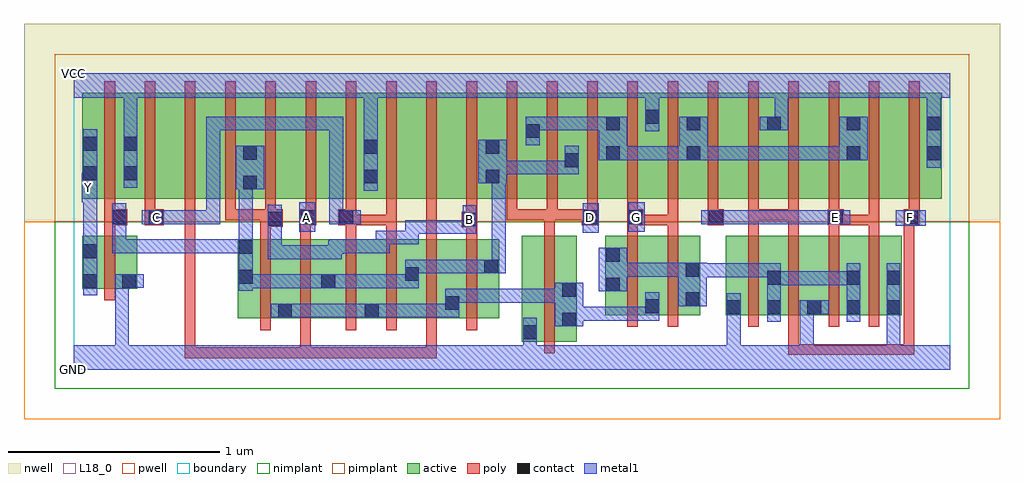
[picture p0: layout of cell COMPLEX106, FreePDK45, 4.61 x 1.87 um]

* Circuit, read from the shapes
.subckt COMPLEX106 A B C D E F G GND VCC Y
M1 GND n1 Y VSUBS nfet w=0.25u l=0.05u
M2 n2 B n1 VSUBS nfet w=0.375u l=0.05u m=2
M3 n1 A n2 VSUBS nfet w=0.375u l=0.05u m=2
M4 n2 C n1 VSUBS nfet w=0.375u l=0.05u m=2
M5 n2 D GND VSUBS nfet w=0.5u l=0.05u
M6 n2 G n3 VSUBS nfet w=0.375u l=0.05u m=2
M7 n3 F GND VSUBS nfet w=0.375u l=0.05u m=2
M8 n3 E GND VSUBS nfet w=0.375u l=0.05u m=2
M9 VCC n1 Y n4 pfet w=0.5u l=0.05u
M10 n5 C VCC n4 pfet w=0.5u l=0.05u
M11 n6 A n5 n4 pfet w=0.5u l=0.05u
M12 n1 B n6 n4 pfet w=0.5u l=0.05u
M13 n7 B n1 n4 pfet w=0.5u l=0.05u
M14 n8 A n7 n4 pfet w=0.5u l=0.05u
M15 VCC C n8 n4 pfet w=0.5u l=0.05u
M16 n9 C VCC n4 pfet w=0.5u l=0.05u
M17 n10 A n9 n4 pfet w=0.5u l=0.05u
M18 n1 B n10 n4 pfet w=0.5u l=0.05u
M19 n11 D n1 n4 pfet w=0.5u l=0.05u m=3
M20 VCC G n11 n4 pfet w=0.5u l=0.05u m=2
M21 n12 E n11 n4 pfet w=0.5u l=0.05u
M22 VCC F n12 n4 pfet w=0.5u l=0.05u
M23 n13 F VCC n4 pfet w=0.5u l=0.05u
M24 n11 E n13 n4 pfet w=0.5u l=0.05u
M25 n14 E n11 n4 pfet w=0.5u l=0.05u
M26 VCC F n14 n4 pfet w=0.5u l=0.05u
.ends

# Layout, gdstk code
import gdstk
lib = gdstk.Library(unit=1e-6, precision=1e-09)
def R(c, l, rs):  # rectangles x0, y0, x1, y1
    for r in rs: c.add(gdstk.rectangle(r[:2], r[2:], *l))
def A(c, l, x, y, w, h, nx, ny, dx, dy):  # array of equal rectangles
    R(c, l, [(x+i*dx, y+j*dy, x+i*dx+w, y+j*dy+h) for i in range(nx) for j in range(ny)])
active = (1, 0)
pwell = (2, 0)
nwell = (3, 0)
nimplant = (4, 0)
pimplant = (5, 0)
poly = (9, 0)
contact = (10, 0)
metal1 = (11, 0)
L18_0 = (18, 0)
boundary = (235, 0)

complex106 = lib.new_cell('COMPLEX106')
A(complex106, active, 0.455, 0.807, 0.19, 0.5, 3, 1, 0.57, 0)
A(complex106, active, 2.13, 0.807, 0.075, 0.393, 3, 1, 0.38, 0)
R(complex106, active, [(2.117,0.132,2.377,0.632), (2.117,0.132,2.192,0.632), (2.302,0.145,2.377,0.632), (0.775,0.242,0.85,0.617), (0.775,0.242,1.035,0.617), (0.96,0.242,1.24,0.617), (0.96,0.242,1.035,0.512), (1.165,0.242,1.445,0.617), (1.37,0.242,1.635,0.617), (1.37,0.242,1.445,0.592), (1.56,0.242,1.825,0.617), (1.75,0.242,2.01,0.617), (1.75,0.242,1.825,0.467), (2.51,0.257,2.77,0.632), (2.695,0.257,2.96,0.632), (2.695,0.257,2.77,0.467), (2.885,0.257,2.96,0.632), (3.08,0.257,3.155,0.632), (3.08,0.257,3.345,0.632), (3.27,0.257,3.345,0.632), (3.27,0.257,3.535,0.632), (3.46,0.257,3.72,0.632), (3.46,0.257,3.535,0.467), (3.645,0.257,3.91,0.632), (3.645,0.257,3.72,0.6), (3.835,0.257,3.91,0.632), (1.165,0.27,1.24,0.512), (1.56,0.27,1.635,0.617), (1.935,0.27,2.01,0.617), (2.51,0.27,2.585,0.632), (0.04,0.382,0.115,0.632), (0.04,0.382,0.3,0.632), (0.225,0.382,0.3,0.632), (0.04,0.807,0.115,1.2), (0.04,0.807,0.305,1.307), (0.23,0.807,0.455,1.307), (0.23,0.807,0.305,1.255), (0.645,0.807,0.87,1.307), (0.795,0.807,1.025,1.307), (0.795,0.807,0.87,1.07), (1.215,0.807,1.44,1.307), (1.365,0.807,1.44,1.307), (1.365,0.807,1.595,1.307), (1.785,0.807,2.015,1.307), (1.94,0.807,2.015,1.2), (1.94,0.807,2.205,1.307), (2.13,0.807,2.39,1.307), (2.315,0.807,2.585,1.307), (2.315,0.807,2.39,1.07), (2.51,0.807,2.77,1.307), (2.695,0.807,2.965,1.307), (2.695,0.807,2.77,1.255), (2.89,0.807,3.115,1.307), (3.115,0.807,3.345,1.307), (3.27,0.807,3.345,1.307), (3.27,0.807,3.495,1.307), (3.495,0.807,3.72,1.307), (3.645,0.807,3.875,1.307), (3.645,0.807,3.72,1.2), (3.875,0.807,4.1,1.307), (4.025,0.807,4.1,1.307)])
R(complex106, pwell, [(-0.235,-0.235,4.375,0.7)])
R(complex106, nwell, [(-0.235,0.7,4.375,1.635)])
R(complex106, nimplant, [(-0.09,-0.09,4.23,0.7)])
R(complex106, pimplant, [(-0.09,0.7,4.23,1.49)])
A(complex106, poly, 1.285, 0.187, 0.05, 0.485, 4, 1, 0.19, 0)
A(complex106, poly, 3.185, 0.202, 0.05, 0.485, 4, 1, 0.19, 0)
A(complex106, poly, 0.715, 0.707, 0.05, 0.095, 4, 1, 0.19, 0)
A(complex106, poly, 2.045, 0.707, 0.05, 0.095, 4, 1, 0.19, 0)
A(complex106, poly, 2.995, 0.707, 0.05, 0.095, 4, 1, 0.19, 0)
A(complex106, poly, 0.145, 0.752, 0.05, 0.61, 21, 1, 0.19, 0)
R(complex106, poly, [(0.525,0.055,0.575,0.105), (0.525,0.055,0.575,0.105), (0.525,0.055,0.575,0.105), (0.525,0.055,0.575,0.105), (0.525,0.055,0.575,0.105), (0.525,0.055,0.575,0.105), (0.525,0.055,0.575,0.105), (0.525,0.055,0.575,0.105), (0.525,0.055,0.575,0.105), (0.525,0.055,0.575,0.105), (0.525,0.055,0.575,0.105), (0.525,0.055,0.707,0.105), (0.525,0.055,0.575,0.802), (0.657,0.055,0.707,0.105), (0.657,0.055,0.707,0.105), (0.657,0.055,0.707,0.105), (0.657,0.055,0.987,0.105), (0.937,0.055,0.987,0.105), (0.937,0.055,0.987,0.105), (0.937,0.055,0.987,0.105), (0.937,0.055,1.12,0.105), (1.07,0.055,1.12,0.105), (1.07,0.055,1.12,0.105), (1.07,0.055,1.12,0.105), (1.07,0.055,1.12,0.237), (1.07,0.055,1.277,0.105), (1.227,0.055,1.277,0.105), (1.227,0.055,1.277,0.105), (1.227,0.055,1.277,0.105), (1.227,0.055,1.467,0.105), (1.417,0.055,1.467,0.105), (1.417,0.055,1.467,0.105), (1.417,0.055,1.467,0.105), (1.417,0.055,1.715,0.105), (1.665,0.055,1.715,0.105), (1.665,0.055,1.715,0.237), (3.375,0.07,3.425,0.12), (3.375,0.07,3.425,0.12), (3.375,0.07,3.425,0.12), (3.375,0.07,3.557,0.12), (3.375,0.07,3.425,0.252), (3.507,0.07,3.557,0.12), (3.507,0.07,3.557,0.12), (3.507,0.07,3.557,0.12), (3.507,0.07,3.837,0.12), (3.787,0.07,3.837,0.12), (3.787,0.07,3.97,0.12), (3.92,0.07,3.97,0.732), (3.92,0.07,3.97,0.12), (3.92,0.07,3.97,0.12), (3.92,0.07,3.97,0.12), (3.92,0.07,3.97,0.12), (3.92,0.07,3.97,0.12), (3.92,0.07,3.97,0.12), (3.92,0.07,3.97,0.12), (3.92,0.07,3.97,0.12), (3.92,0.07,3.97,0.12), (2.222,0.077,2.272,0.687), (0.88,0.187,0.93,0.672), (1.07,0.187,1.12,0.672), (2.615,0.202,2.665,0.687), (2.805,0.202,2.855,0.687), (0.145,0.327,0.195,0.687), (0.88,0.622,0.93,0.725), (1.07,0.622,1.12,0.732), (1.285,0.622,1.335,0.732), (1.475,0.622,1.525,0.732), (1.665,0.622,1.715,0.757), (1.855,0.622,1.905,0.722), (0.145,0.637,0.195,0.732), (2.222,0.637,2.272,0.757), (2.615,0.637,2.665,0.732), (2.805,0.637,2.855,0.732), (3.185,0.637,3.235,0.757), (3.375,0.637,3.425,0.757), (3.565,0.637,3.615,0.732), (3.755,0.637,3.805,0.732), (1.832,0.672,1.907,0.747), (0.88,0.675,0.987,0.757), (0.145,0.682,0.252,0.757), (0.335,0.682,0.425,0.757), (1.07,0.682,1.145,0.757), (1.25,0.682,1.335,0.757), (1.285,0.682,1.335,0.732), (1.285,0.682,1.335,0.732), (1.285,0.682,1.525,0.732), (1.475,0.682,1.525,0.732), (1.475,0.682,1.525,0.802), (2.4,0.682,2.475,0.757), (2.615,0.682,2.69,0.757), (2.64,0.682,2.855,0.732), (2.805,0.682,2.855,0.732), (2.805,0.682,2.855,0.732), (2.805,0.682,2.855,0.732), (2.805,0.682,2.855,0.802), (2.995,0.682,3.07,0.757), (3.562,0.682,3.637,0.757), (3.587,0.682,3.637,0.732), (3.587,0.682,3.637,0.732), (3.587,0.682,3.805,0.732), (3.755,0.682,3.805,0.732), (3.755,0.682,3.805,0.802), (3.92,0.682,3.995,0.757), (1.855,0.697,1.905,0.802), (0.145,0.707,0.195,0.802), (0.335,0.707,0.385,0.802), (0.715,0.707,0.765,0.757), (0.715,0.707,0.765,0.757), (0.715,0.707,0.765,0.757), (0.715,0.707,0.93,0.757), (1.665,0.707,1.715,0.802), (1.665,0.707,1.715,0.757), (2.045,0.707,2.095,0.757), (2.045,0.707,2.095,0.757), (2.045,0.707,2.095,0.757), (2.045,0.707,2.272,0.757), (2.222,0.707,2.285,0.757), (2.235,0.707,2.45,0.757), (2.4,0.707,2.45,0.757), (2.4,0.707,2.45,0.757), (3.185,0.707,3.235,0.757), (3.185,0.707,3.235,0.757), (3.185,0.707,3.235,0.757), (3.185,0.707,3.425,0.757), (3.375,0.707,3.425,0.757), (3.945,0.707,3.995,0.802)])
A(complex106, contact, 3.085, 0.262, 0.065, 0.065, 3, 1, 0.19, 0)
A(complex106, contact, 2.515, 1.13, 0.065, 0.065, 3, 1, 0.38, 0)
R(complex106, contact, [(2.122,0.145,2.187,0.21), (2.307,0.205,2.372,0.27), (0.965,0.247,1.03,0.312), (1.375,0.247,1.44,0.312), (3.65,0.262,3.715,0.327), (3.84,0.262,3.905,0.327), (2.7,0.267,2.765,0.332), (1.755,0.282,1.82,0.347), (2.89,0.3,2.955,0.365), (2.307,0.345,2.372,0.41), (2.515,0.37,2.58,0.435), (1.17,0.385,1.235,0.45), (0.045,0.387,0.11,0.452), (0.23,0.387,0.295,0.452), (3.275,0.402,3.34,0.467), (3.65,0.402,3.715,0.467), (3.84,0.402,3.905,0.467), (0.78,0.407,0.845,0.472), (1.565,0.42,1.63,0.485), (2.89,0.44,2.955,0.505), (1.94,0.455,2.005,0.52), (2.515,0.51,2.58,0.575), (0.045,0.527,0.11,0.592), (0.78,0.547,0.845,0.612), (1.837,0.677,1.902,0.742), (0.917,0.68,0.982,0.745), (0.182,0.687,0.247,0.752), (0.355,0.687,0.42,0.752), (1.075,0.687,1.14,0.752), (1.255,0.687,1.32,0.752), (2.405,0.687,2.47,0.752), (2.62,0.687,2.685,0.752), (3,0.687,3.065,0.752), (3.567,0.687,3.632,0.752), (3.925,0.687,3.99,0.752), (0.8,0.852,0.865,0.917), (1.37,0.88,1.435,0.945), (1.945,0.88,2.01,0.945), (0.045,0.895,0.11,0.96), (0.235,0.895,0.3,0.96), (2.32,0.957,2.385,1.022), (2.515,0.99,2.58,1.055), (2.895,0.99,2.96,1.055), (3.65,0.99,3.715,1.055), (4.03,0.99,4.095,1.055), (0.8,0.992,0.865,1.057), (1.37,1.02,1.435,1.085), (1.945,1.02,2.01,1.085), (0.045,1.035,0.11,1.1), (0.235,1.035,0.3,1.1), (2.135,1.095,2.2,1.16), (3.65,1.13,3.715,1.195), (4.03,1.13,4.095,1.195), (2.7,1.162,2.765,1.227)])
R(complex106, metal1, [(0,0,4.14,0.115), (0.195,0.05,0.26,0.115), (0.195,0.05,0.26,0.115), (0.195,0.05,0.26,0.115), (0.195,0.05,0.26,0.115), (0.195,0.05,0.26,0.115), (0.195,0.05,0.26,0.115), (0.195,0.05,0.26,0.452), (2.122,0.05,2.187,0.175), (3.085,0.05,3.15,0.115), (3.085,0.05,3.15,0.115), (3.085,0.05,3.15,0.292), (3.43,0.05,3.495,0.115), (3.43,0.05,3.495,0.115), (3.43,0.05,3.495,0.115), (3.43,0.05,3.495,0.115), (3.43,0.05,3.495,0.327), (3.84,0.05,3.905,0.115), (3.84,0.05,3.905,0.115), (3.84,0.05,3.905,0.292), (2.122,0.11,2.187,0.175), (2.122,0.11,2.187,0.175), (2.122,0.11,2.187,0.245), (2.272,0.205,2.407,0.41), (3.085,0.227,3.15,0.292), (3.085,0.227,3.15,0.292), (3.085,0.227,3.15,0.362), (3.275,0.227,3.34,0.502), (3.65,0.227,3.715,0.502), (3.84,0.227,3.905,0.502), (3.84,0.227,3.905,0.292), (3.84,0.227,3.905,0.292), (2.342,0.232,2.407,0.297), (2.342,0.232,2.407,0.297), (2.342,0.232,2.545,0.297), (2.48,0.232,2.545,0.297), (2.48,0.232,2.545,0.297), (2.48,0.232,2.545,0.297), (2.48,0.232,2.765,0.297), (2.7,0.232,2.765,0.367), (0.93,0.247,1.065,0.312), (1,0.247,1.13,0.312), (1.065,0.247,1.13,0.312), (1.065,0.247,1.202,0.312), (1.137,0.247,1.202,0.312), (1.137,0.247,1.277,0.312), (1.212,0.247,1.277,0.312), (1.212,0.247,1.405,0.312), (1.34,0.247,1.475,0.312), (1.41,0.247,1.612,0.312), (1.547,0.247,1.612,0.312), (1.547,0.247,1.612,0.312), (1.547,0.247,1.612,0.312), (1.547,0.247,1.75,0.312), (1.685,0.247,1.75,0.312), (1.685,0.247,1.82,0.312), (1.755,0.247,1.82,0.382), (3.43,0.262,3.565,0.327), (2.855,0.3,2.99,0.505), (1.755,0.317,1.907,0.382), (1.842,0.317,1.907,0.382), (1.842,0.317,1.957,0.382), (1.892,0.317,1.957,0.382), (1.892,0.317,2.045,0.382), (1.98,0.317,2.045,0.382), (1.98,0.317,2.2,0.382), (2.135,0.317,2.2,0.382), (2.135,0.317,2.2,0.382), (2.135,0.317,2.2,0.382), (2.135,0.317,2.337,0.382), (0.045,0.352,0.11,0.627), (2.48,0.37,2.615,0.575), (0.78,0.372,0.845,0.647), (0.78,0.372,0.845,0.437), (0.78,0.372,0.845,0.45), (0.78,0.385,0.992,0.45), (0.927,0.385,0.992,0.45), (0.927,0.385,0.992,0.45), (0.927,0.385,0.992,0.45), (0.927,0.385,1.14,0.45), (1.075,0.385,1.14,0.45), (1.075,0.385,1.2,0.45), (1.135,0.385,1.27,0.45), (1.205,0.385,1.355,0.45), (1.29,0.385,1.355,0.45), (1.29,0.385,1.475,0.45), (1.41,0.385,1.475,0.45), (1.41,0.385,1.612,0.45), (1.547,0.385,1.612,0.45), (1.547,0.385,1.63,0.45), (1.565,0.385,1.63,0.52), (0.195,0.387,0.33,0.452), (3.275,0.4,3.46,0.465), (3.395,0.4,3.46,0.465), (3.395,0.4,3.477,0.465), (3.412,0.4,3.477,0.465), (3.412,0.4,3.715,0.465), (3.65,0.4,3.715,0.465), (3.65,0.4,3.715,0.465), (2.925,0.437,2.99,0.502), (2.925,0.437,2.99,0.502), (2.925,0.437,3.132,0.502), (3.067,0.437,3.132,0.502), (3.067,0.437,3.27,0.502), (3.205,0.437,3.27,0.502), (3.205,0.437,3.34,0.502), (2.55,0.44,2.615,0.505), (2.55,0.44,2.615,0.505), (2.55,0.44,2.752,0.505), (2.687,0.44,2.752,0.505), (2.687,0.44,2.752,0.505), (2.687,0.44,2.752,0.505), (2.687,0.44,2.92,0.505), (1.565,0.455,1.765,0.52), (1.7,0.455,1.765,0.52), (1.7,0.455,1.767,0.52), (1.702,0.455,1.767,0.52), (1.702,0.455,1.907,0.52), (1.842,0.455,1.907,0.52), (1.842,0.455,1.97,0.52), (1.905,0.455,2.04,0.52), (1.975,0.455,2.04,0.945), (0.917,0.522,0.982,0.587), (0.917,0.522,1.14,0.587), (0.917,0.522,0.982,0.71), (1.075,0.522,1.14,0.587), (1.075,0.522,1.267,0.587), (1.202,0.522,1.267,0.612), (1.202,0.547,1.277,0.612), (1.212,0.547,1.277,0.615), (0.182,0.55,0.247,0.615), (0.182,0.55,0.385,0.615), (0.182,0.55,0.247,0.717), (0.32,0.55,0.385,0.615), (0.32,0.55,0.385,0.615), (0.32,0.55,0.385,0.615), (0.32,0.55,0.692,0.615), (0.627,0.55,0.692,0.615), (0.627,0.55,0.692,0.615), (0.627,0.55,0.692,0.615), (0.627,0.55,0.845,0.615), (0.78,0.55,0.845,0.615), (0.78,0.55,0.845,0.615), (1.212,0.55,1.41,0.615), (1.345,0.55,1.41,0.615), (1.345,0.55,1.492,0.615), (1.427,0.55,1.492,0.657), (0.045,0.562,0.11,0.857), (0.78,0.582,0.845,0.647), (0.78,0.582,0.845,0.647), (0.78,0.582,0.845,0.917), (1.427,0.592,1.63,0.657), (1.565,0.592,1.63,0.657), (1.565,0.592,1.63,0.707), (1.565,0.642,1.63,0.707), (1.565,0.642,1.765,0.707), (1.7,0.642,1.765,0.707), (1.7,0.642,1.767,0.707), (1.702,0.642,1.767,0.707), (1.702,0.642,1.902,0.707), (1.837,0.642,1.902,0.777), (0.917,0.645,0.982,0.71), (0.917,0.645,0.982,0.71), (0.917,0.645,0.982,0.78), (2.405,0.647,2.48,0.787), (0.182,0.652,0.247,0.717), (0.182,0.652,0.247,0.717), (0.182,0.652,0.247,0.787), (1.065,0.652,1.14,0.792), (2.62,0.652,2.697,0.79), (3.882,0.68,4.025,0.752), (0.32,0.687,0.457,0.752), (0.392,0.687,0.457,0.752), (0.392,0.687,0.457,0.752), (0.392,0.687,0.692,0.752), (0.627,0.687,0.692,0.752), (0.627,0.687,0.692,0.752), (0.627,0.687,0.692,0.752), (0.627,0.687,0.692,1.195), (1.207,0.687,1.272,0.752), (1.207,0.687,1.285,0.752), (1.207,0.687,1.272,1.195), (1.22,0.687,1.355,0.752), (2.965,0.687,3.1,0.752), (3.035,0.687,3.132,0.752), (3.067,0.687,3.132,0.752), (3.067,0.687,3.27,0.752), (3.205,0.687,3.27,0.752), (3.205,0.687,3.27,0.752), (3.205,0.687,3.27,0.752), (3.205,0.687,3.407,0.752), (3.342,0.687,3.407,0.752), (3.342,0.687,3.477,0.752), (3.412,0.687,3.477,0.752), (3.412,0.687,3.597,0.752), (3.532,0.687,3.667,0.752), (0.037,0.792,0.11,0.927), (1.37,0.845,1.435,1.12), (0.765,0.852,0.9,1.057), (0.045,0.86,0.11,1.135), (0.045,0.86,0.11,0.925), (0.235,0.86,0.3,1.135), (1.91,0.88,2.045,1.085), (1.975,0.88,2.04,0.945), (1.975,0.88,2.04,0.945), (1.975,0.88,2.04,0.945), (1.975,0.88,2.04,0.945), (1.98,0.922,2.045,0.987), (1.98,0.922,2.045,0.987), (1.98,0.922,2.182,0.987), (2.117,0.922,2.182,0.987), (2.117,0.922,2.182,0.987), (2.117,0.922,2.182,0.987), (2.117,0.922,2.385,0.987), (2.32,0.922,2.385,1.057), (4.03,0.955,4.095,1.23), (2.48,0.99,2.615,1.195), (2.55,0.99,2.615,1.055), (2.55,0.99,2.615,1.055), (2.55,0.99,2.782,1.055), (2.717,0.99,2.782,1.055), (2.717,0.99,2.782,1.055), (2.717,0.99,2.782,1.055), (2.717,0.99,2.925,1.055), (2.86,0.99,2.995,1.195), (2.93,0.99,3.132,1.055), (3.067,0.99,3.132,1.055), (3.067,0.99,3.132,1.055), (3.067,0.99,3.132,1.055), (3.067,0.99,3.27,1.055), (3.205,0.99,3.27,1.055), (3.205,0.99,3.27,1.055), (3.205,0.99,3.27,1.055), (3.205,0.99,3.407,1.055), (3.342,0.99,3.407,1.055), (3.342,0.99,3.542,1.055), (3.477,0.99,3.542,1.055), (3.477,0.99,3.68,1.055), (3.615,0.99,3.68,1.055), (3.615,0.99,3.68,1.055), (3.615,0.99,3.75,1.195), (1.37,1.055,1.435,1.35), (2.135,1.06,2.2,1.195), (0.235,1.07,0.3,1.35), (2.7,1.127,2.765,1.262), (0.627,1.13,0.692,1.195), (0.627,1.13,0.692,1.195), (0.627,1.13,0.692,1.195), (0.627,1.13,0.845,1.195), (0.78,1.13,0.845,1.195), (0.78,1.13,0.845,1.195), (0.78,1.13,0.845,1.195), (0.78,1.13,0.992,1.195), (0.927,1.13,0.992,1.195), (0.927,1.13,0.992,1.195), (0.927,1.13,0.992,1.195), (0.927,1.13,1.13,1.195), (1.065,1.13,1.13,1.195), (1.065,1.13,1.272,1.195), (1.207,1.13,1.272,1.195), (1.207,1.13,1.272,1.195), (1.207,1.13,1.272,1.195), (2.135,1.13,2.2,1.195), (2.135,1.13,2.2,1.195), (2.135,1.13,2.337,1.195), (2.272,1.13,2.337,1.195), (2.272,1.13,2.337,1.195), (2.272,1.13,2.337,1.195), (2.272,1.13,2.545,1.195), (3.24,1.13,3.375,1.195), (3.31,1.13,3.375,1.35), (4.03,1.165,4.095,1.35), (2.7,1.197,2.765,1.35), (0,1.285,4.14,1.4)])
R(complex106, L18_0, [(0,0,4.14,0.115), (0.195,0.05,0.26,0.115), (0.195,0.05,0.26,0.115), (0.195,0.05,0.26,0.115), (0.195,0.05,0.26,0.115), (0.195,0.05,0.26,0.115), (0.195,0.05,0.26,0.115), (0.195,0.05,0.26,0.452), (2.122,0.05,2.187,0.175), (3.085,0.05,3.15,0.115), (3.085,0.05,3.15,0.115), (3.085,0.05,3.15,0.292), (3.43,0.05,3.495,0.115), (3.43,0.05,3.495,0.115), (3.43,0.05,3.495,0.115), (3.43,0.05,3.495,0.115), (3.43,0.05,3.495,0.327), (3.84,0.05,3.905,0.115), (3.84,0.05,3.905,0.115), (3.84,0.05,3.905,0.292), (2.122,0.11,2.187,0.175), (2.122,0.11,2.187,0.175), (2.122,0.11,2.187,0.245), (3.085,0.227,3.15,0.292), (3.085,0.227,3.15,0.292), (3.085,0.227,3.15,0.362), (3.84,0.227,3.905,0.502), (3.84,0.227,3.905,0.292), (3.84,0.227,3.905,0.292), (3.43,0.262,3.565,0.327), (0.045,0.352,0.11,0.627), (0.195,0.387,0.33,0.452), (0.917,0.522,0.982,0.587), (0.917,0.522,0.982,0.71), (0.917,0.522,1.14,0.587), (1.075,0.522,1.14,0.587), (1.075,0.522,1.267,0.587), (1.202,0.522,1.267,0.612), (1.202,0.547,1.277,0.612), (1.212,0.547,1.277,0.615), (1.212,0.55,1.41,0.615), (1.345,0.55,1.41,0.615), (1.345,0.55,1.492,0.615), (1.427,0.55,1.492,0.657), (0.045,0.562,0.11,0.857), (1.427,0.592,1.63,0.657), (1.565,0.592,1.63,0.657), (1.565,0.592,1.63,0.707), (1.565,0.642,1.63,0.707), (1.565,0.642,1.765,0.707), (1.7,0.642,1.765,0.707), (1.7,0.642,1.767,0.707), (1.702,0.642,1.767,0.707), (1.702,0.642,1.902,0.707), (1.837,0.642,1.902,0.777), (0.917,0.645,0.982,0.71), (0.917,0.645,0.982,0.71), (0.917,0.645,0.982,0.78), (2.405,0.647,2.48,0.787), (1.065,0.652,1.14,0.792), (2.62,0.652,2.697,0.79), (1.837,0.677,1.902,0.742), (3.882,0.68,4.025,0.752), (0.32,0.687,0.457,0.752), (0.357,0.687,0.422,0.752), (0.392,0.687,0.457,0.752), (0.392,0.687,0.457,0.752), (0.392,0.687,0.692,0.752), (0.627,0.687,0.692,0.752), (0.627,0.687,0.692,0.752), (0.627,0.687,0.692,0.752), (0.627,0.687,0.692,1.195), (1.067,0.687,1.132,0.752), (1.207,0.687,1.272,0.752), (1.207,0.687,1.272,1.195), (1.207,0.687,1.285,0.752), (1.22,0.687,1.355,0.752), (2.407,0.687,2.472,0.752), (2.627,0.687,2.692,0.752), (2.965,0.687,3.1,0.752), (3.035,0.687,3.132,0.752), (3.067,0.687,3.132,0.752), (3.067,0.687,3.27,0.752), (3.205,0.687,3.27,0.752), (3.205,0.687,3.27,0.752), (3.205,0.687,3.27,0.752), (3.205,0.687,3.407,0.752), (3.342,0.687,3.407,0.752), (3.342,0.687,3.477,0.752), (3.412,0.687,3.477,0.752), (3.412,0.687,3.597,0.752), (3.532,0.687,3.667,0.752), (3.567,0.687,3.632,0.752), (3.917,0.687,3.982,0.752), (0.037,0.792,0.11,0.927), (0.037,0.827,0.102,0.892), (1.37,0.845,1.435,1.12), (0.045,0.86,0.11,1.135), (0.045,0.86,0.11,0.925), (0.235,0.86,0.3,1.135), (4.03,0.955,4.095,1.23), (1.37,1.055,1.435,1.35), (0.235,1.07,0.3,1.35), (2.7,1.127,2.765,1.262), (0.627,1.13,0.692,1.195), (0.627,1.13,0.692,1.195), (0.627,1.13,0.692,1.195), (0.627,1.13,0.845,1.195), (0.78,1.13,0.845,1.195), (0.78,1.13,0.845,1.195), (0.78,1.13,0.845,1.195), (0.78,1.13,0.992,1.195), (0.927,1.13,0.992,1.195), (0.927,1.13,0.992,1.195), (0.927,1.13,0.992,1.195), (0.927,1.13,1.13,1.195), (1.065,1.13,1.13,1.195), (1.065,1.13,1.272,1.195), (1.207,1.13,1.272,1.195), (1.207,1.13,1.272,1.195), (1.207,1.13,1.272,1.195), (3.24,1.13,3.375,1.195), (3.31,1.13,3.375,1.35), (4.03,1.165,4.095,1.35), (2.7,1.197,2.765,1.35), (0,1.285,4.14,1.4)])
R(complex106, boundary, [(0,0,4.14,1.4)])
complex106.add(gdstk.Label('A', (1.1,0.72), layer=11, texttype=0))
complex106.add(gdstk.Label('B', (1.87,0.71), layer=11, texttype=0))
complex106.add(gdstk.Label('C', (0.39,0.72), layer=11, texttype=0))
complex106.add(gdstk.Label('D', (2.44,0.72), layer=11, texttype=0))
complex106.add(gdstk.Label('E', (3.6,0.72), layer=11, texttype=0))
complex106.add(gdstk.Label('F', (3.95,0.72), layer=11, texttype=0))
complex106.add(gdstk.Label('G', (2.66,0.72), layer=11, texttype=0))
complex106.add(gdstk.Label('Y', (0.07,0.86), layer=11, texttype=0))
complex106.add(gdstk.Label('VCC', (0,1.4), layer=11, texttype=0))
complex106.add(gdstk.Label('GND', (0,0), layer=11, texttype=0))

lib.write_gds('COMPLEX106.gds')
